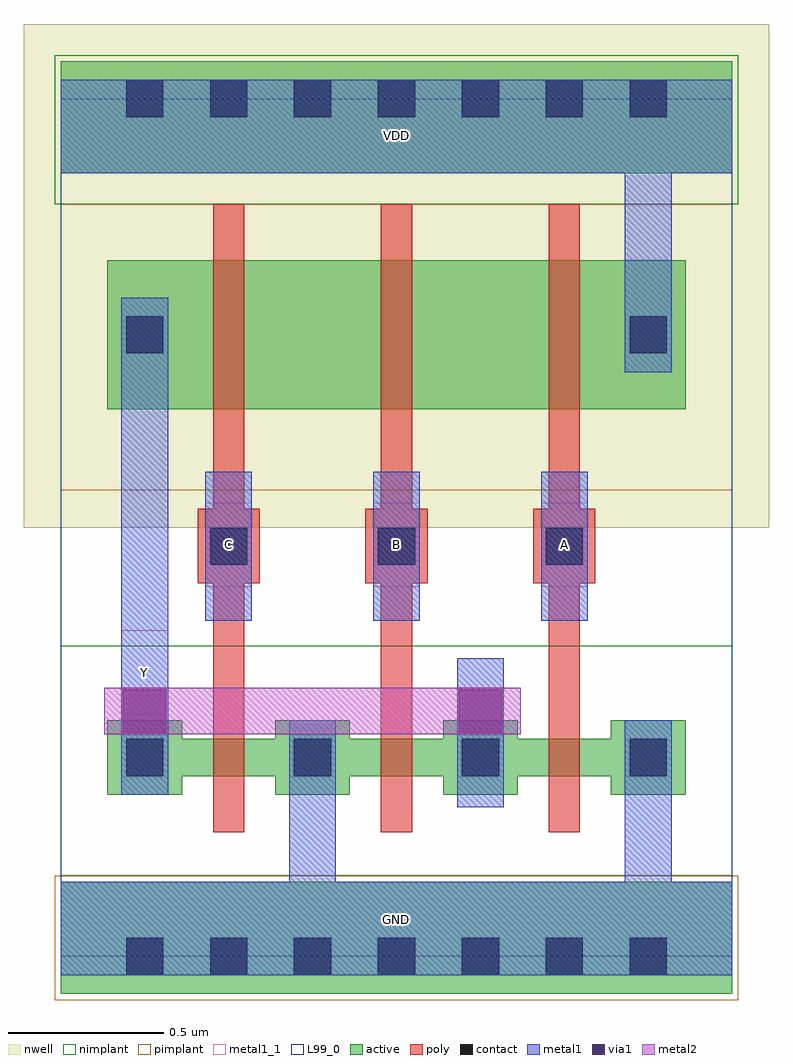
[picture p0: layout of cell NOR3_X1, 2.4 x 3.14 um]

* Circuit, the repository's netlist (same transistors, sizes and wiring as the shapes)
* TV3_CELLS/NOR3_X1: netlist from Virtuoso schematic
.SUBCKT NOR3_X1 A B C GND VDD Y
MMN2 Y C GND GND nmos1v w=120n l=100n
MMN1 Y B GND GND nmos1v w=120n l=100n
MMN0 Y A GND GND nmos1v w=120n l=100n
MMP2 Y C p2 VDD pmos1v w=480n l=100n
MMP1 p2 B p1 VDD pmos1v w=480n l=100n
MMP0 p1 A VDD VDD pmos1v w=480n l=100n
.ENDS NOR3_X1

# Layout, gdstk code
import gdstk
lib = gdstk.Library(unit=1e-6, precision=5e-10)
def R(c, l, rs):  # rectangles x0, y0, x1, y1
    for r in rs: c.add(gdstk.rectangle(r[:2], r[2:], *l))
def A(c, l, x, y, w, h, nx, ny, dx, dy):  # array of equal rectangles
    R(c, l, [(x+i*dx, y+j*dy, x+i*dx+w, y+j*dy+h) for i in range(nx) for j in range(ny)])
active = (1, 0)
nwell = (2, 0)
poly = (3, 0)
nimplant = (4, 0)
pimplant = (5, 0)
contact = (6, 0)
metal1 = (7, 0)
metal1_1 = (7, 1)
via1 = (8, 0)
metal2 = (9, 0)
L99_0 = (99, 0)

nor3_x1 = lib.new_cell('NOR3_X1')
A(nor3_x1, active, 0.15, 0.52, 0.24, 0.24, 4, 1, 0.54, 0)
A(nor3_x1, active, 0.39, 0.58, 0.3, 0.12, 3, 1, 0.54, 0)
A(nor3_x1, active, 0.15, 1.76, 0.24, 0.48, 4, 1, 0.54, 0)
A(nor3_x1, active, 0.39, 1.76, 0.3, 0.48, 3, 1, 0.54, 0)
R(nor3_x1, active, [(0,-0.12,2.16,0.24), (0,2.52,2.16,2.88)])
R(nor3_x1, nwell, [(-0.12,1.38,2.28,3)])
A(nor3_x1, poly, 0.49, 0.4, 0.1, 2.02, 3, 1, 0.54, 0)
A(nor3_x1, poly, 0.44, 1.2, 0.2, 0.24, 3, 1, 0.54, 0)
R(nor3_x1, nimplant, [(0,0.26,2.16,1), (-0.02,2.42,2.18,2.9)])
R(nor3_x1, pimplant, [(-0.02,-0.14,2.18,0.26), (0,1.5,2.16,2.42)])
A(nor3_x1, contact, 0.21, -0.06, 0.12, 0.12, 7, 2, 0.27, 2.76)
A(nor3_x1, contact, 0.21, 0.58, 0.12, 0.12, 4, 1, 0.54, 0)
A(nor3_x1, contact, 0.48, 1.26, 0.12, 0.12, 3, 1, 0.54, 0)
R(nor3_x1, contact, [(0.21,1.94,0.33,2.06), (1.83,1.94,1.95,2.06)])
A(nor3_x1, metal1, 0.465, 1.08, 0.15, 0.48, 3, 1, 0.54, 0)
R(nor3_x1, metal1, [(0,-0.06,2.16,0.24), (0.735,0,0.885,0.76), (1.815,0,1.965,0.76), (1.275,0.48,1.425,0.96), (0.195,0.52,0.345,2.12), (1.815,1.88,1.965,2.76), (0,2.52,2.16,2.82)])
A(nor3_x1, metal1_1, 0.465, 1.19, 0.15, 0.27, 3, 1, 0.54, 0)
R(nor3_x1, metal1_1, [(0,0,2.16,0.24), (0.195,0.78,0.345,1.05), (0,2.52,2.16,2.76)])
R(nor3_x1, via1, [(0.2,0.72,0.34,0.86), (1.28,0.72,1.42,0.86)])
R(nor3_x1, metal2, [(0.14,0.715,1.48,0.865)])
R(nor3_x1, L99_0, [(0,0,2.16,2.76)])
nor3_x1.add(gdstk.Label('Y', (0.27,0.915), layer=7, texttype=3))
nor3_x1.add(gdstk.Label('C', (0.54,1.325), layer=7, texttype=3))
nor3_x1.add(gdstk.Label('B', (1.08,1.325), layer=7, texttype=3))
nor3_x1.add(gdstk.Label('A', (1.62,1.325), layer=7, texttype=3))
nor3_x1.add(gdstk.Label('VDD', (1.08,2.64), layer=7, texttype=3))
nor3_x1.add(gdstk.Label('GND', (1.08,0.12), layer=7, texttype=3))

lib.write_gds('NOR3_X1.gds')
